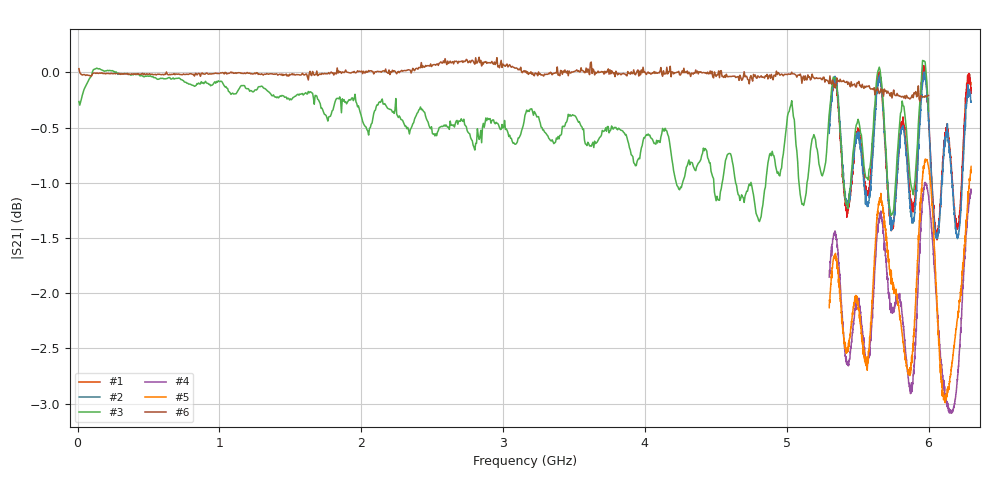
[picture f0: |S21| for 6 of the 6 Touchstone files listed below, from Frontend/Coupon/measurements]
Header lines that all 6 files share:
! NanoVNA-App
! S-Parameter data: F S11 S21 S12 S22
# Hz S RI R 50
!  Frequency  S11_Real  S11_Imag  S21_Real  S21_Imag  S12_Real  S12_Imag  S22_Real  S22_Imag
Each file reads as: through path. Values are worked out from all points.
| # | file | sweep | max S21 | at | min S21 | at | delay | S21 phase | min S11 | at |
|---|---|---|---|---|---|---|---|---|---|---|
| 1 | coupon_revB_7628_horizontal_10mm_5.3_6.3GHz_nanoVNA_0.s2p | 5.3 GHz to 6.3 GHz | 0.06 dB | 5.964 GHz | -1.5 dB | 6.06 GHz | 142 ps | 71 deg at 5.8 GHz | -23.7 dB | 5.542 GHz |
| 2 | coupon_revB_7628_horizontal_10mm_100Mhz_6.5GHz_nanoVNA.s2p | 5.3 GHz to 6.3 GHz | 0.00 dB | 5.968 GHz | -1.5 dB | 6.063 GHz | 142 ps | 72 deg at 5.8 GHz | -20.6 dB | 5.304 GHz |
| 3 | coupon_revB_7628_horizontal_10mm_100Mhz_6.5GHz_nanoVNA_0.s2p | 10 MHz to 6 GHz | 0.11 dB | 5.958 GHz | -1.4 dB | 4.808 GHz | 141 ps | -151 deg at 3.005 GHz | -72.4 dB | 650.9 MHz |
| 4 | coupon_revB_7628_horizontal_40mm_5.3_6.3GHz_nanoVNA.s2p | 5.3 GHz to 6.3 GHz | -1.00 dB | 5.973 GHz | -3.1 dB | 6.147 GHz | 333 ps | 44 deg at 5.8 GHz | -26.1 dB | 5.695 GHz |
| 5 | coupon_revB_7628_horizontal_40mm_masked_5.3_6.3GHz_nanoVNA.s2p | 5.3 GHz to 6.3 GHz | -0.79 dB | 5.977 GHz | -3.0 dB | 6.117 GHz | 347 ps | 24 deg at 5.8 GHz | -54.2 dB | 5.687 GHz |
| 6 | through_connection.s2p | 10 MHz to 6 GHz | 0.14 dB | 2.831 GHz | -0.3 dB | 5.94 GHz | - | -0 deg at 3.005 GHz | -57.6 dB | 417.3 MHz |
